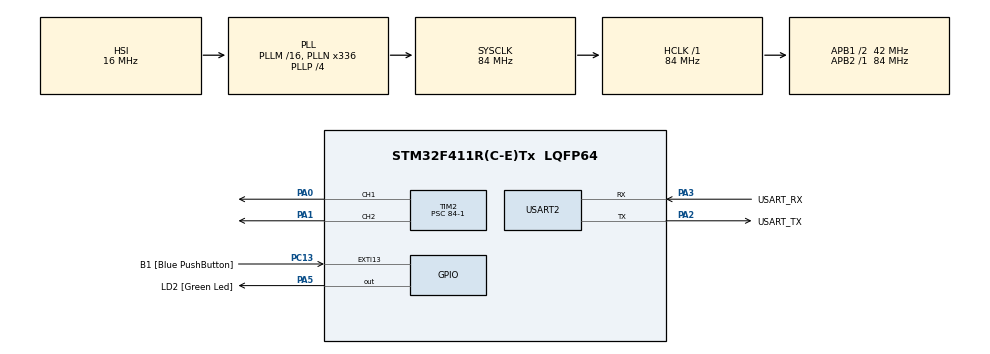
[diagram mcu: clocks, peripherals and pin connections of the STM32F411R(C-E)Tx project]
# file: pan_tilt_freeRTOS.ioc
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Dma.Request0=USART2_RX
Dma.USART2_RX.0.Direction=DMA_PERIPH_TO_MEMORY
Dma.USART2_RX.0.FIFOMode=DMA_FIFOMODE_DISABLE
Dma.USART2_RX.0.Instance=DMA1_Stream5
Dma.USART2_RX.0.MemDataAlignment=DMA_MDATAALIGN_BYTE
Dma.USART2_RX.0.MemInc=DMA_MINC_ENABLE
Dma.USART2_RX.0.Mode=DMA_NORMAL
Dma.USART2_RX.0.PeriphDataAlignment=DMA_PDATAALIGN_BYTE
Dma.USART2_RX.0.PeriphInc=DMA_PINC_DISABLE
Dma.USART2_RX.0.Priority=DMA_PRIORITY_LOW
FREERTOS.Tasks01=servo_task,24,256,start_servo_task,Default,NULL,Dynamic,NULL,NULL;rx_task,8,256,start_rx_task,Default,NULL,Dynamic,NULL,NULL;cmd_task,8,256,start_cmd_task,Default,NULL,Dynamic,NULL,NULL;idle_task,8,256,start_idle_task,Default,NULL,Dynamic,NULL,NULL
Mcu.Family=STM32F4
Mcu.Name=STM32F411R(C-E)Tx
Mcu.Package=LQFP64
NVIC.DMA1_Stream5_IRQn=true\:5\:0\:false\:false\:true\:true\:false\:true\:true
NVIC.PriorityGroup=NVIC_PRIORITYGROUP_4
NVIC.TIM3_IRQn=true\:5\:0\:false\:false\:true\:true\:true\:true\:true
NVIC.USART2_IRQn=true\:5\:0\:false\:false\:true\:true\:true\:true\:true
PA0-WKUP.Signal=S_TIM2_CH1_ETR
PA1.Signal=S_TIM2_CH2
PA13.GPIO_Label=TMS
PA13.Mode=Serial_Wire
PA13.Signal=SYS_JTMS-SWDIO
PA14.GPIO_Label=TCK
PA14.Mode=Serial_Wire
PA14.Signal=SYS_JTCK-SWCLK
PA2.GPIO_Label=USART_TX
PA2.Mode=Asynchronous
PA2.Signal=USART2_TX
PA3.GPIO_Label=USART_RX
PA3.Mode=Asynchronous
PA3.Signal=USART2_RX
PA5.GPIO_Label=LD2 [Green Led]
PA5.Signal=GPIO_Output
PB3.GPIO_Label=SWO
PB3.Signal=SYS_JTDO-SWO
PC13-ANTI_TAMP.GPIO_Label=B1 [Blue PushButton]
PC13-ANTI_TAMP.GPIO_ModeDefaultEXTI=GPIO_MODE_IT_FALLING
PC13-ANTI_TAMP.Signal=GPXTI13
PC14-OSC32_IN.Mode=LSE-External-Oscillator
PC14-OSC32_IN.Signal=RCC_OSC32_IN
PC15-OSC32_OUT.Mode=LSE-External-Oscillator
PC15-OSC32_OUT.Signal=RCC_OSC32_OUT
PH0\ -\ OSC_IN.Mode=HSE-External-Clock-Source
PH0\ -\ OSC_IN.Signal=RCC_OSC_IN
PH1\ -\ OSC_OUT.Mode=HSE-External-Clock-Source
PH1\ -\ OSC_OUT.Signal=RCC_OSC_OUT
ProjectManager.HeapSize=0x200
ProjectManager.StackSize=0x400
ProjectManager.TargetToolchain=CMake
RCC.48MHZClocksFreq_Value=84000000
RCC.AHBFreq_Value=84000000
RCC.APB1CLKDivider=RCC_HCLK_DIV2
RCC.APB1Freq_Value=42000000
RCC.APB1TimFreq_Value=84000000
RCC.APB2Freq_Value=84000000
RCC.APB2TimFreq_Value=84000000
RCC.CortexFreq_Value=84000000
RCC.FLatency-AdvancedSettings=FLASH_LATENCY_2
RCC.HCLKFreq_Value=84000000
RCC.HSE_VALUE=8000000
RCC.HSI_VALUE=16000000
RCC.PLLN=336
RCC.PLLP=RCC_PLLP_DIV4
RCC.SYSCLKFreq_VALUE=84000000
RCC.SYSCLKSource=RCC_SYSCLKSOURCE_PLLCLK
RCC.VCOOutputFreq_Value=336000000
SH.S_TIM2_CH1_ETR.0=TIM2_CH1,PWM Generation1 CH1
SH.S_TIM2_CH2.0=TIM2_CH2,PWM Generation2 CH2
TIM2.Channel-PWM\ Generation1\ CH1=TIM_CHANNEL_1
TIM2.Channel-PWM\ Generation2\ CH2=TIM_CHANNEL_2
TIM2.Period=20000-1
TIM2.Prescaler=84-1
TIM3.Channel-Output\ Compare1\ No\ Output=TIM_CHANNEL_1
TIM3.Period=100-1
TIM3.Prescaler=8400-1
USART2.VirtualMode=VM_ASYNC
VP_FREERTOS_VS_CMSIS_V2.Mode=CMSIS_V2
VP_TIM3_VS_no_output1.Mode=Output Compare1 No Output
board=NUCLEO-F411RE

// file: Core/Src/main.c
/* USER CODE BEGIN Header */
/**
 ******************************************************************************
 * @file           : main.c
 * @brief          : Pan/Tilt with CMSIS-RTOS v2, UART2 DMA IDLE RX
 ******************************************************************************
 * @attention
 * Copyright (c) 2025 STMicroelectronics.
 * All rights reserved.
 ******************************************************************************
 */
/* USER CODE END Header */
#include "main.h"
#include "cmsis_os.h"

/* USER CODE BEGIN Includes */
#include <string.h>

#ifndef CMD_BUF_LEN
#define CMD_BUF_LEN 16 // typedef에서 필요하므로 선 정의
#endif
/* USER CODE END Includes */

/* USER CODE BEGIN PTD */
typedef struct
{
  char line[CMD_BUF_LEN];
} cmd_msg_t;
typedef struct
{
  int pan;
  int tilt;
} servo_cmd_t;
/* USER CODE END PTD */

/* USER CODE BEGIN PD */
#ifndef RX_BUF_LEN
#define RX_BUF_LEN 128
#endif

#ifndef CMD_BUF_LEN
#define CMD_BUF_LEN 16
#endif

#define SERVO_MIN_US 500
#define SERVO_MAX_US 2500
#define SERVO_FULL_DEG 180

// 각도 범위(요청 사양에 맞춤)
#define PAN_MIN_DEG 0
#define PAN_MAX_DEG 90 // 팬은 0..90°
#define TILT_MIN_DEG 0
#define TILT_MAX_DEG 180 // 틸트는 0..180°

#define L1_STEP_DEG 1
#define L2_STEP_DEG 1
#define L3_STEP_DEG 1

#define EV_TICK (1u << 0) // 10ms 틱
#define EV_RX (1u << 1)   // 수신 발생
/* USER CODE END PD */

TIM_HandleTypeDef htim2;
TIM_HandleTypeDef htim3;

UART_HandleTypeDef huart2;
DMA_HandleTypeDef hdma_usart2_rx;

/* Definitions for servo_task */
osThreadId_t servo_taskHandle;
const osThreadAttr_t servo_task_attributes = {
    .name = "servo_task",
    .stack_size = 256 * 4,
    .priority = (osPriority_t)osPriorityNormal,
};
/* Definitions for rx_task */
osThreadId_t rx_taskHandle;
const osThreadAttr_t rx_task_attributes = {
    .name = "rx_task",
    .stack_size = 256 * 4,
    .priority = (osPriority_t)osPriorityLow,
};
/* Definitions for cmd_task */
osThreadId_t cmd_taskHandle;
const osThreadAttr_t cmd_task_attributes = {
    .name = "cmd_task",
    .stack_size = 256 * 4,
    .priority = (osPriority_t)osPriorityLow,
};
/* Definitions for idle_task */
osThreadId_t idle_taskHandle;
const osThreadAttr_t idle_task_attributes = {
    .name = "idle_task",
    .stack_size = 256 * 4,
    .priority = (osPriority_t)osPriorityLow,
};
/* USER CODE BEGIN PV */
// Queues
osMessageQueueId_t rx_mq;    // byte queue
osMessageQueueId_t cmd_mq;   // line queue
osMessageQueueId_t servo_mq; // target queue (len=1)

// UART DMA RX buffer
static uint8_t rx_dma_buf[RX_BUF_LEN];

// 초기 각도(요청 기준: 팬 0°, 틸트 90°)
static int pan_deg = 0;   // TIM2_CH1 (PA0)
static int tilt_deg = 90; // TIM2_CH2 (PA1)

// idle
osEventFlagsId_t ev_idle;
static volatile uint16_t idle_10ms = 0;
static volatile uint8_t reset_posted = 0;
/* USER CODE END PV */

void SystemClock_Config(void);
static void MX_GPIO_Init(void);
static void MX_DMA_Init(void);
static void MX_USART2_UART_Init(void);
static void MX_TIM2_Init(void);
static void MX_TIM3_Init(void);
void start_servo_task(void *argument);
void start_rx_task(void *argument);
void start_cmd_task(void *argument);
void start_idle_task(void *argument);

/* USER CODE BEGIN PFP */
static void servo_set_pan(int deg);
static void servo_set_tilt(int deg);
static void apply_area_move(char area, int level);
static inline int level_to_step(int l);
/* USER CODE END PFP */

/* USER CODE BEGIN 0 */
static inline int us_to_ccr(int us) { return us; } // TIM2 tick = 1 MHz
/* USER CODE END 0 */

int main(void)
{

  /* MCU Configuration--------------------------------------------------------*/

  /* Reset of all peripherals, Initializes the Flash interface and the Systick. */
  HAL_Init();

  /* Configure the system clock */
  SystemClock_Config();

  /* Initialize all configured peripherals */
  MX_GPIO_Init();
  MX_DMA_Init();
  MX_USART2_UART_Init();
  MX_TIM2_Init();
  MX_TIM3_Init();
  /* USER CODE BEGIN 2 */
  // PWM start and init position
  HAL_TIM_PWM_Start(&htim2, TIM_CHANNEL_1);
  HAL_TIM_PWM_Start(&htim2, TIM_CHANNEL_2);
  servo_set_pan(pan_deg);
  servo_set_tilt(tilt_deg);

  // USART2 IRQ for IDLE detection
  HAL_NVIC_SetPriority(USART2_IRQn, 6, 0);
  HAL_NVIC_EnableIRQ(USART2_IRQn);

  // Start UART DMA + IDLE reception
  HAL_UARTEx_ReceiveToIdle_DMA(&huart2, rx_dma_buf, RX_BUF_LEN);
  __HAL_DMA_DISABLE_IT(&hdma_usart2_rx, DMA_IT_HT);

  /* USER CODE END 2 */

  /* Init scheduler */
  osKernelInitialize();

  /* USER CODE BEGIN RTOS_QUEUES */
  rx_mq = osMessageQueueNew(RX_BUF_LEN, sizeof(uint8_t), NULL);
  cmd_mq = osMessageQueueNew(8, sizeof(cmd_msg_t), NULL);
  servo_mq = osMessageQueueNew(1, sizeof(servo_cmd_t), NULL);

  ev_idle = osEventFlagsNew(NULL);
  /* USER CODE END RTOS_QUEUES */

  /* Create the thread(s) */
  /* creation of servo_task */
  servo_taskHandle = osThreadNew(start_servo_task, NULL, &servo_task_attributes);

  /* creation of rx_task */
  rx_taskHandle = osThreadNew(start_rx_task, NULL, &rx_task_attributes);

  /* creation of cmd_task */
  cmd_taskHandle = osThreadNew(start_cmd_task, NULL, &cmd_task_attributes);

  /* creation of idle_task */
  idle_taskHandle = osThreadNew(start_idle_task, NULL, &idle_task_attributes);

  /* Start scheduler */
  osKernelStart();

  /* We should never get here as control is now taken by the scheduler */

  /* Infinite loop */
  while (1)
  {

  }
}

void SystemClock_Config(void)
{
  RCC_OscInitTypeDef RCC_OscInitStruct = {0};
  RCC_ClkInitTypeDef RCC_ClkInitStruct = {0};

  /** Configure the main internal regulator output voltage
   */
  __HAL_RCC_PWR_CLK_ENABLE();
  __HAL_PWR_VOLTAGESCALING_CONFIG(PWR_REGULATOR_VOLTAGE_SCALE1);

  /** Initializes the RCC Oscillators according to the specified parameters
   * in the RCC_OscInitTypeDef structure.
   */
  RCC_OscInitStruct.OscillatorType = RCC_OSCILLATORTYPE_HSI;
  RCC_OscInitStruct.HSIState = RCC_HSI_ON;
  RCC_OscInitStruct.HSICalibrationValue = RCC_HSICALIBRATION_DEFAULT;
  RCC_OscInitStruct.PLL.PLLState = RCC_PLL_ON;
  RCC_OscInitStruct.PLL.PLLSource = RCC_PLLSOURCE_HSI;
  RCC_OscInitStruct.PLL.PLLM = 16;
  RCC_OscInitStruct.PLL.PLLN = 336;
  RCC_OscInitStruct.PLL.PLLP = RCC_PLLP_DIV4;
  RCC_OscInitStruct.PLL.PLLQ = 4;
  if (HAL_RCC_OscConfig(&RCC_OscInitStruct) != HAL_OK)
  {
    Error_Handler();
  }

  /** Initializes the CPU, AHB and APB buses clocks
   */
  RCC_ClkInitStruct.ClockType = RCC_CLOCKTYPE_HCLK | RCC_CLOCKTYPE_SYSCLK | RCC_CLOCKTYPE_PCLK1 | RCC_CLOCKTYPE_PCLK2;
  RCC_ClkInitStruct.SYSCLKSource = RCC_SYSCLKSOURCE_PLLCLK;
  RCC_ClkInitStruct.AHBCLKDivider = RCC_SYSCLK_DIV1;
  RCC_ClkInitStruct.APB1CLKDivider = RCC_HCLK_DIV2;
  RCC_ClkInitStruct.APB2CLKDivider = RCC_HCLK_DIV1;

  if (HAL_RCC_ClockConfig(&RCC_ClkInitStruct, FLASH_LATENCY_2) != HAL_OK)
  {
    Error_Handler();
  }
}

static void MX_TIM2_Init(void)
{

  TIM_MasterConfigTypeDef sMasterConfig = {0};
  TIM_OC_InitTypeDef sConfigOC = {0};

  htim2.Instance = TIM2;
  htim2.Init.Prescaler = 84 - 1;
  htim2.Init.CounterMode = TIM_COUNTERMODE_UP;
  htim2.Init.Period = 20000 - 1;
  htim2.Init.ClockDivision = TIM_CLOCKDIVISION_DIV1;
  htim2.Init.AutoReloadPreload = TIM_AUTORELOAD_PRELOAD_DISABLE;
  if (HAL_TIM_PWM_Init(&htim2) != HAL_OK)
  {
    Error_Handler();
  }
  sMasterConfig.MasterOutputTrigger = TIM_TRGO_RESET;
  sMasterConfig.MasterSlaveMode = TIM_MASTERSLAVEMODE_DISABLE;
  if (HAL_TIMEx_MasterConfigSynchronization(&htim2, &sMasterConfig) != HAL_OK)
  {
    Error_Handler();
  }
  sConfigOC.OCMode = TIM_OCMODE_PWM1;
  sConfigOC.Pulse = 0;
  sConfigOC.OCPolarity = TIM_OCPOLARITY_HIGH;
  sConfigOC.OCFastMode = TIM_OCFAST_DISABLE;
  if (HAL_TIM_PWM_ConfigChannel(&htim2, &sConfigOC, TIM_CHANNEL_1) != HAL_OK)
  {
    Error_Handler();
  }
  if (HAL_TIM_PWM_ConfigChannel(&htim2, &sConfigOC, TIM_CHANNEL_2) != HAL_OK)
  {
    Error_Handler();
  }
  HAL_TIM_MspPostInit(&htim2);
}

static void MX_TIM3_Init(void)
{

  TIM_MasterConfigTypeDef sMasterConfig = {0};
  TIM_OC_InitTypeDef sConfigOC = {0};

  htim3.Instance = TIM3;
  htim3.Init.Prescaler = 8400 - 1;
  htim3.Init.CounterMode = TIM_COUNTERMODE_UP;
  htim3.Init.Period = 100 - 1;
  htim3.Init.ClockDivision = TIM_CLOCKDIVISION_DIV1;
  htim3.Init.AutoReloadPreload = TIM_AUTORELOAD_PRELOAD_DISABLE;
  if (HAL_TIM_OC_Init(&htim3) != HAL_OK)
  {
    Error_Handler();
  }
  sMasterConfig.MasterOutputTrigger = TIM_TRGO_RESET;
  sMasterConfig.MasterSlaveMode = TIM_MASTERSLAVEMODE_DISABLE;
  if (HAL_TIMEx_MasterConfigSynchronization(&htim3, &sMasterConfig) != HAL_OK)
  {
    Error_Handler();
  }
  sConfigOC.OCMode = TIM_OCMODE_TIMING;
  sConfigOC.Pulse = 0;
  sConfigOC.OCPolarity = TIM_OCPOLARITY_HIGH;
  sConfigOC.OCFastMode = TIM_OCFAST_DISABLE;
  if (HAL_TIM_OC_ConfigChannel(&htim3, &sConfigOC, TIM_CHANNEL_1) != HAL_OK)
  {
    Error_Handler();
  }
}

static void MX_USART2_UART_Init(void)
{

  huart2.Instance = USART2;
  huart2.Init.BaudRate = 115200;
  huart2.Init.WordLength = UART_WORDLENGTH_8B;
  huart2.Init.StopBits = UART_STOPBITS_1;
  huart2.Init.Parity = UART_PARITY_NONE;
  huart2.Init.Mode = UART_MODE_TX_RX;
  huart2.Init.HwFlowCtl = UART_HWCONTROL_NONE;
  huart2.Init.OverSampling = UART_OVERSAMPLING_16;
  if (HAL_UART_Init(&huart2) != HAL_OK)
  {
    Error_Handler();
  }
}

static void MX_DMA_Init(void)
{

  /* DMA controller clock enable */
  __HAL_RCC_DMA1_CLK_ENABLE();

  /* DMA interrupt init */
  /* DMA1_Stream5_IRQn interrupt configuration */
  HAL_NVIC_SetPriority(DMA1_Stream5_IRQn, 5, 0);
  HAL_NVIC_EnableIRQ(DMA1_Stream5_IRQn);
}

static void MX_GPIO_Init(void)
{
  GPIO_InitTypeDef GPIO_InitStruct = {0};

  /* GPIO Ports Clock Enable */
  __HAL_RCC_GPIOC_CLK_ENABLE();
  __HAL_RCC_GPIOH_CLK_ENABLE();
  __HAL_RCC_GPIOA_CLK_ENABLE();
  __HAL_RCC_GPIOB_CLK_ENABLE();

  /*Configure GPIO pin Output Level */
  HAL_GPIO_WritePin(LD2_GPIO_Port, LD2_Pin, GPIO_PIN_RESET);

  /*Configure GPIO pin : B1_Pin */
  GPIO_InitStruct.Pin = B1_Pin;
  GPIO_InitStruct.Mode = GPIO_MODE_IT_FALLING;
  GPIO_InitStruct.Pull = GPIO_NOPULL;
  HAL_GPIO_Init(B1_GPIO_Port, &GPIO_InitStruct);

  /*Configure GPIO pin : LD2_Pin */
  GPIO_InitStruct.Pin = LD2_Pin;
  GPIO_InitStruct.Mode = GPIO_MODE_OUTPUT_PP;
  GPIO_InitStruct.Pull = GPIO_NOPULL;
  GPIO_InitStruct.Speed = GPIO_SPEED_FREQ_LOW;
  HAL_GPIO_Init(LD2_GPIO_Port, &GPIO_InitStruct);

}

/* USER CODE BEGIN 4 */
void HAL_TIM_PeriodElapsedCallback(TIM_HandleTypeDef *htim)
{
  if (htim->Instance != TIM3)
    return;
  osEventFlagsSet(ev_idle, EV_TICK); // 10ms 틱 알림만
}

// USART2 IDLE+DMA callback → push bytes to rx_mq
void HAL_UARTEx_RxEventCallback(UART_HandleTypeDef *huart, uint16_t Size)
{
  if (huart->Instance != USART2)
    return;

  osEventFlagsSet(ev_idle, EV_RX); // 수신 이벤트 발생

  for (uint16_t i = 0; i < Size; i++)
  {
    uint8_t b = rx_dma_buf[i];
    (void)osMessageQueuePut(rx_mq, &b, 0, 0); // ISR-safe, timeout 0
  }

  HAL_UARTEx_ReceiveToIdle_DMA(&huart2, rx_dma_buf, RX_BUF_LEN);
  __HAL_DMA_DISABLE_IT(&hdma_usart2_rx, DMA_IT_HT);
}

/* angle → pulse and write CCR (요청 기준 반영) */
// PAN: 0..90° → 0.5..1.5ms
static void servo_set_pan(int deg)
{
  if (deg < PAN_MIN_DEG)
    deg = PAN_MIN_DEG;
  if (deg > PAN_MAX_DEG)
    deg = PAN_MAX_DEG;
  int ccr = 500 + (2000 * deg) / SERVO_FULL_DEG; // 500..1500us
  __HAL_TIM_SET_COMPARE(&htim2, TIM_CHANNEL_1, us_to_ccr(ccr));
  pan_deg = deg;
}

// TILT: 0..180° → 0.5..2.5ms
static void servo_set_tilt(int deg)
{
  if (deg < TILT_MIN_DEG)
    deg = TILT_MIN_DEG;
  if (deg > TILT_MAX_DEG)
    deg = TILT_MAX_DEG;
  int ccr = 500 + (2000 * deg) / SERVO_FULL_DEG; // 500..2500us
  __HAL_TIM_SET_COMPARE(&htim2, TIM_CHANNEL_2, us_to_ccr(ccr));
  tilt_deg = deg;
}

static inline int level_to_step(int l)
{
  return (l == 1) ? 30 : (l == 2) ? 20
                                  : 10; // L1/L2/L3
}

static void apply_area_move(char area, int level)
{
  int dx=0, dy=0, step = level_to_step(level);

  // X축(좌·중·우)
  switch (area) {
    case 'Q': case 'A': case 'Z': dx = -1; break;
    case 'W': case 'S': case 'X': dx =  0; break;
    case 'E': case 'D': case 'C': dx = +1; break;
    default: return;
  }
  // Y축(상·중·하)
  switch (area) {
    case 'Q': case 'W': case 'E': dy = -1; break;
    case 'A': case 'S': case 'D': dy =  0; break;
    case 'Z': case 'X': case 'C': dy = +1; break;
  }
  if (area == 'S') return;

  // 기대 동작: D→오른(+X), A→왼(-X), W→위(-Y), X→아래(+Y)
  int pan_delta  = dy;   // PAN = X
  int tilt_delta = dx;   // TILT = Y
  // 필요 시 아래 부호만 뒤집어 보정
  pan_delta  = -pan_delta;
  tilt_delta = -tilt_delta;

  servo_cmd_t t = {
    .pan  = pan_deg  + pan_delta  * step,
    .tilt = tilt_deg + tilt_delta * step
  };
  if (osMessageQueuePut(servo_mq, &t, 0, 0) != osOK) {
    osMessageQueueReset(servo_mq);
    (void)osMessageQueuePut(servo_mq, &t, 0, 0);
  }
}

/* USER CODE END 4 */

void start_servo_task(void *argument)
{
  /* USER CODE BEGIN 5 */
  /* Infinite loop */
  const uint32_t PERIOD_MS = 20; // 50Hz
  const int RAMP_DEG = 2;

  servo_cmd_t target = {.pan = pan_deg, .tilt = tilt_deg}, tmp;

  for (;;)
  {
    while (osMessageQueueGet(servo_mq, &tmp, NULL, 0) == osOK)
      target = tmp;

    int dp = target.pan - pan_deg;
    if (dp > RAMP_DEG)
      dp = RAMP_DEG;
    if (dp < -RAMP_DEG)
      dp = -RAMP_DEG;
    if (dp)
      servo_set_pan(pan_deg + dp);

    int dt = target.tilt - tilt_deg;
    if (dt > RAMP_DEG)
      dt = RAMP_DEG;
    if (dt < -RAMP_DEG)
      dt = -RAMP_DEG;
    if (dt)
      servo_set_tilt(tilt_deg + dt);

    osDelay(PERIOD_MS);
  }
  /* USER CODE END 5 */
}

void start_rx_task(void *argument)
{
  /* USER CODE BEGIN start_rx_task */
  /* Infinite loop */
  cmd_msg_t msg;
  size_t len = 0;
  uint8_t b;
  for (;;)
  {
    osMessageQueueGet(rx_mq, &b, NULL, osWaitForever);
    if (b == '\r')
      continue;
    if (b == '\n')
    {
      if (len)
      {
        msg.line[len] = 0;
        osMessageQueuePut(cmd_mq, &msg, 0, 0);
        len = 0;
      }
    }
    else
    {
      if (len < sizeof msg.line - 1)
        msg.line[len++] = (char)b;
      else
        len = 0;
    }
  }
  /* USER CODE END start_rx_task */
}

void start_cmd_task(void *argument)
{
  /* USER CODE BEGIN start_cmd_task */
  /* Infinite loop */
  cmd_msg_t m;
  for (;;)
  {
    if (osMessageQueueGet(cmd_mq, &m, NULL, osWaitForever) != osOK)
      continue;

    if (m.line[0] == 'R' && m.line[1] == 0)
    {
      servo_cmd_t t = {.pan = 0, .tilt = 90};
      osMessageQueueReset(servo_mq);
      osMessageQueuePut(servo_mq, &t, 0, 0);
    }
    else if (m.line[1] == '@' && (m.line[2] >= '1' && m.line[2] <= '3'))
    {
      apply_area_move(m.line[0], m.line[2] - '0');
    }
  }
  /* USER CODE END start_cmd_task */
}

void start_idle_task(void *argument)
{
  /* USER CODE BEGIN start_idle_task */
  /* Infinite loop */
  // Start 10ms ticktimer
  HAL_TIM_Base_Start_IT(&htim3);
  for (;;)
  {
    uint32_t f = osEventFlagsWait(ev_idle, EV_TICK | EV_RX, osFlagsWaitAny, osWaitForever);

    if (f & EV_RX)
    { // 수신 발생 시 타임아웃 타이머 리셋
      idle_10ms = 0;
      reset_posted = 0;
    }

    if (f & EV_TICK)
    { // 10ms 틱 누적
      if (++idle_10ms >= 300)
      { // 3초
        idle_10ms = 300;
        if (!reset_posted)
        {
          servo_cmd_t t = {.pan = 0, .tilt = 90};
          osMessageQueueReset(servo_mq);
          (void)osMessageQueuePut(servo_mq, &t, 0, 0);
          reset_posted = 1;
        }
      }
    }
  }
  /* USER CODE END start_idle_task */
}

void Error_Handler(void)
{
  __disable_irq();
  while (1)
  {
  }
}
